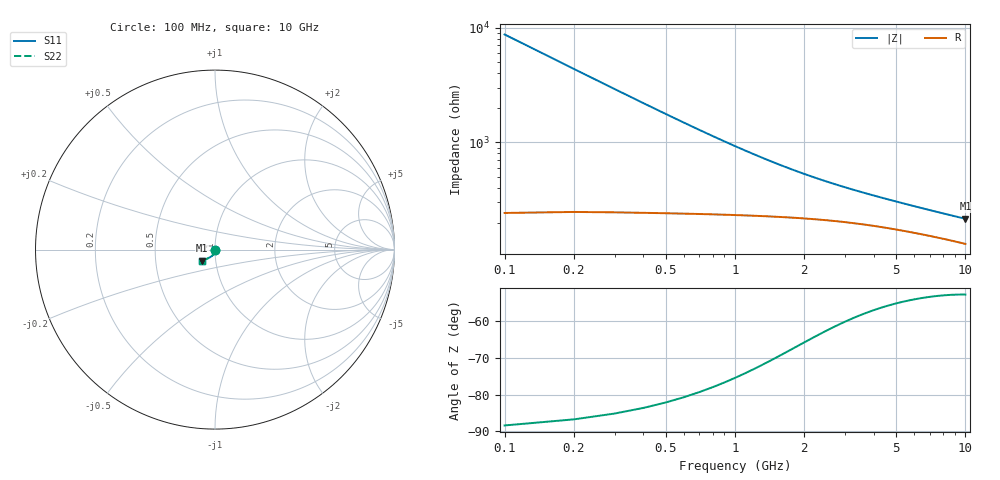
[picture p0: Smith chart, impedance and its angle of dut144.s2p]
! Touchstone file exported from HFSS 2024.1.0
!  File:  C:/UserFiles/LocalFiles/RDL_TSV_Batchsim/temp_TSV1_144_1778765668.aedt
!  Generated:  09:39:54 PM May 14, 2026
!  Design:  TSV1
!  Project:  temp_TSV1_144_1778765668
!  Setup:  Setup1
!  Solution:  Sweep
! Variables:
!  dtsv = 20.67um
!  hbump = 3um
!  htsv = 73.04um
!  lrdl = 252.1521522um
!  p = 40
!  p1 = 48.36um
!  t = 500um
!  trdl = 3um
!  wrdl = 24.89489489um
# GHz S MA R 50.000000
! Terminal data exported
! Port[1] = TSV22_T1
! Port[2] = TSV22_T2
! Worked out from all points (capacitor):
!   100 points, 100 MHz to 10 GHz, reference 50 ohm
!   read as one part in shunt: C = 183 fF near 100 MHz
!   lowest |Z| = 216 ohm at 10 GHz (marker M1)
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0.1  0.002625 -90.2  0.9998 -0.2  0.9998 -0.2  0.002625 -90.2
! Gamma 0 0 0 0
! Port Impedance 50 0 50 0
0.2  0.005249 -92.9  0.9996 -0.4  0.9996 -0.4  0.005249 -92.9
0.3  0.007858 -95.0  0.9991 -0.5  0.9991 -0.5  0.007858 -95.0
0.4  0.01044 -96.8  0.9985 -0.7  0.9985 -0.7  0.01044 -96.8
0.5  0.01297 -98.6  0.9978 -0.9  0.9978 -0.9  0.01297 -98.6
0.6  0.01546 -100.3  0.997 -1.0  0.997 -1.0  0.01546 -100.3
0.7  0.01788 -101.9  0.996 -1.2  0.996 -1.2  0.01788 -101.9
0.8  0.02023 -103.5  0.995 -1.3  0.995 -1.3  0.02023 -103.5
0.9  0.02252 -105.1  0.9939 -1.5  0.9939 -1.5  0.02252 -105.1
1.1  0.02686 -108.0  0.9915 -1.7  0.9915 -1.7  0.02686 -108.0
1.4  0.03278 -111.9  0.9876 -2.1  0.9876 -2.1  0.03278 -111.9
1.6  0.03635 -114.3  0.985 -2.3  0.985 -2.3  0.03635 -114.3
1.8  0.03963 -116.4  0.9824 -2.5  0.9824 -2.5  0.03963 -116.4
2.1  0.04408 -119.2  0.9787 -2.7  0.9787 -2.7  0.04408 -119.2
2.5  0.04923 -122.3  0.974 -3.0  0.974 -3.0  0.04923 -122.3
2.9  0.0537 -124.8  0.9698 -3.2  0.9698 -3.2  0.0537 -124.8
3.4  0.05856 -127.3  0.9651 -3.5  0.9651 -3.5  0.05856 -127.3
4.2  0.06515 -130.3  0.9587 -3.9  0.9587 -3.9  0.06515 -130.3
5.1  0.07139 -132.7  0.9527 -4.3  0.9527 -4.3  0.07139 -132.7
6.7  0.08055 -135.5  0.944 -4.9  0.944 -4.9  0.08055 -135.5
8.4  0.08847 -137.5  0.9368 -5.5  0.9368 -5.5  0.08847 -137.5
10  0.09478 -138.7  0.9313 -6.0  0.9313 -6.0  0.09478 -138.7
